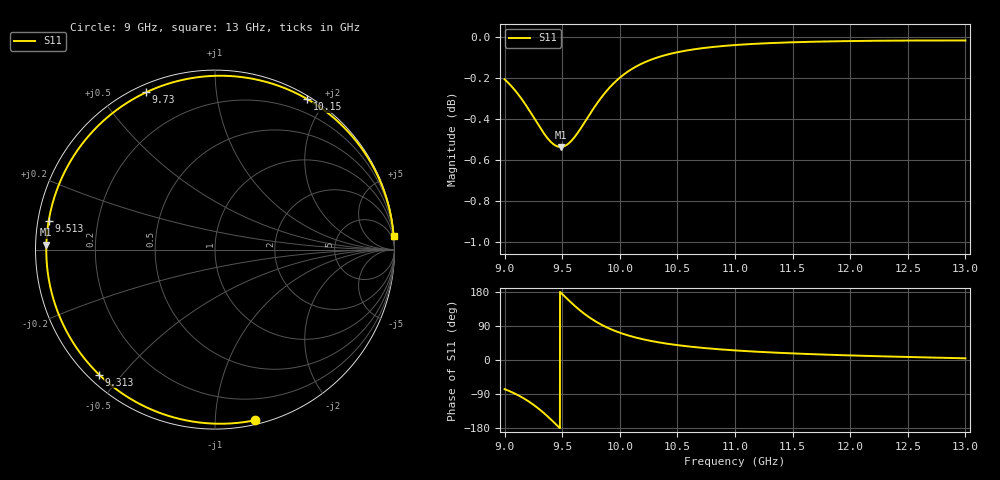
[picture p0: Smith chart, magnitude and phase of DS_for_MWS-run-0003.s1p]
! TOUCHSTONE file generated by CST DESIGN STUDIO
! Date and time: Wed Feb  5 13:31:12 2025
! Project name: C:\Work\MatlabApps\UnitCellOptimizationMatlab\CST\unitcell.cst
! Tree item: Tasks\Sweep1\SPara1\S-Parameters
! Header version: 2024
! Port assignment regex: !\s*Touchstone port\s*([0-9]+)\s*=\s*(CST MWS port|CST DES external port|CST DES block port)\s*(.+)\s* \(\"(.*)\"\)(\s*mode\s*([0-9]+))?.*
! Touchstone port assignment:
! Touchstone port 1 = CST DES external port 1 ("")
# GHz S MA R 50
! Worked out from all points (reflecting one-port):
!   4001 points, 9 GHz to 13 GHz, reference 50 ohm
!   lowest |S11| = -0.5 dB at 9.486 GHz (marker M1), VSWR 32.41, Z = 1.54 + j0.738 ohm
!   phase of S11 starts at -77 deg and turns -279 deg over the sweep
!   S11 on the Smith chart (normalised r, x): 9 GHz: 0.03, -1.26; 9.313 GHz: 0.03, -0.44; 9.513 GHz: 0.03, +0.09; 9.73 GHz: 0.03, +0.65; 10.15 GHz: 0.03, +1.79; 13 GHz: 1, +26
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9  0.9764 -76.9
9.08  0.9711 -87.3
9.179  0.9629 -103.6
9.248  0.9563 -117.6
9.313  0.9499 -132.8
9.359  0.9458 -144.9
9.407  0.9424 -158.3
9.447  0.9407 -170.1
9.486  0.9401 178.3
9.5  0.9402 174.1
9.513  0.9404 170.3
9.565  0.9425 155.1
9.625  0.9468 138.6
9.677  0.9515 125.5
9.73  0.9566 113.6
9.784  0.9617 102.9
9.845  0.967 92.4
9.921  0.9726 81.4
10  0.9773 72.0
10.149  0.9837 58.5
10.308  0.988 48.2
10.5  0.9913 39.3
10.722  0.9936 31.9
11  0.9953 25.3
11.5  0.9968 17.4
12  0.9975 12.1
12.5  0.9978 8.0
13  0.9978 4.5
